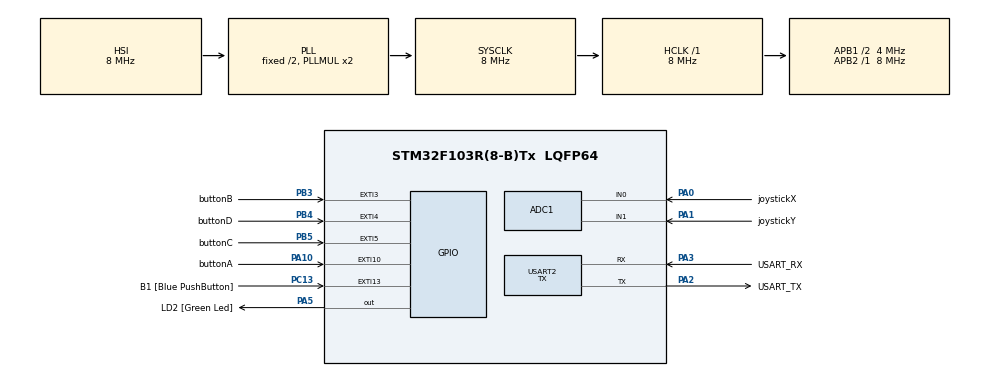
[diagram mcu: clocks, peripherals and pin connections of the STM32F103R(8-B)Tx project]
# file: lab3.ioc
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ADC1.Channel-0\#ChannelRegularConversion=ADC_CHANNEL_1
ADC1.Channel-1\#ChannelRegularConversion=ADC_CHANNEL_0
ADC1.ContinuousConvMode=ENABLE
ADC1.NbrOfConversion=2
ADC1.NbrOfConversionFlag=1
ADC1.Rank-0\#ChannelRegularConversion=1
ADC1.Rank-1\#ChannelRegularConversion=2
ADC1.SamplingTime-0\#ChannelRegularConversion=ADC_SAMPLETIME_239CYCLES_5
ADC1.SamplingTime-1\#ChannelRegularConversion=ADC_SAMPLETIME_239CYCLES_5
ADC1.master=1
Dma.ADC1.0.Direction=DMA_PERIPH_TO_MEMORY
Dma.ADC1.0.Instance=DMA1_Channel1
Dma.ADC1.0.MemDataAlignment=DMA_MDATAALIGN_HALFWORD
Dma.ADC1.0.MemInc=DMA_MINC_ENABLE
Dma.ADC1.0.Mode=DMA_CIRCULAR
Dma.ADC1.0.PeriphDataAlignment=DMA_PDATAALIGN_HALFWORD
Dma.ADC1.0.PeriphInc=DMA_PINC_DISABLE
Dma.ADC1.0.Priority=DMA_PRIORITY_LOW
Dma.Request0=ADC1
Mcu.Family=STM32F1
Mcu.Name=STM32F103R(8-B)Tx
Mcu.Package=LQFP64
NVIC.ADC1_2_IRQn=true\:1\:0\:true\:false\:true\:true\:true\:true
NVIC.DMA1_Channel1_IRQn=true\:1\:0\:true\:false\:true\:false\:true\:true
NVIC.EXTI15_10_IRQn=true\:0\:0\:false\:false\:true\:true\:true\:true
NVIC.EXTI3_IRQn=true\:0\:0\:false\:false\:true\:true\:true\:true
NVIC.EXTI4_IRQn=true\:0\:0\:false\:false\:true\:true\:true\:true
NVIC.EXTI9_5_IRQn=true\:0\:0\:false\:false\:true\:true\:true\:true
NVIC.PriorityGroup=NVIC_PRIORITYGROUP_4
NVIC.TIM2_IRQn=true\:0\:0\:false\:false\:true\:true\:true\:true
NVIC.USART2_IRQn=true\:0\:0\:true\:false\:true\:true\:true\:true
PA0-WKUP.GPIO_Label=joystickX
PA0-WKUP.Signal=ADCx_IN0
PA1.GPIO_Label=joystickY
PA1.Signal=ADCx_IN1
PA10.GPIO_Label=buttonA
PA10.Signal=GPXTI10
PA13.GPIO_Label=TMS
PA13.Mode=Serial_Wire
PA13.Signal=SYS_JTMS-SWDIO
PA14.GPIO_Label=TCK
PA14.Mode=Serial_Wire
PA14.Signal=SYS_JTCK-SWCLK
PA2.GPIO_Label=USART_TX
PA2.GPIO_Mode=GPIO_MODE_AF_PP
PA2.GPIO_PuPd=GPIO_NOPULL
PA2.GPIO_Speed=GPIO_SPEED_FREQ_LOW
PA2.Mode=Asynchronous
PA2.Signal=USART2_TX
PA3.GPIO_Label=USART_RX
PA3.GPIO_Mode=GPIO_MODE_AF_PP
PA3.GPIO_PuPd=GPIO_NOPULL
PA3.GPIO_Speed=GPIO_SPEED_FREQ_LOW
PA3.Mode=Asynchronous
PA3.Signal=USART2_RX
PA5.GPIO_Label=LD2 [Green Led]
PA5.GPIO_ModeDefaultOutputPP=GPIO_MODE_OUTPUT_PP
PA5.GPIO_PuPd=GPIO_NOPULL
PA5.GPIO_Speed=GPIO_SPEED_FREQ_LOW
PA5.Signal=GPIO_Output
PB3.GPIO_Label=buttonB
PB3.Signal=GPXTI3
PB4.GPIO_Label=buttonD
PB4.Signal=GPXTI4
PB5.GPIO_Label=buttonC
PB5.Signal=GPXTI5
PC13-TAMPER-RTC.GPIO_Label=B1 [Blue PushButton]
PC13-TAMPER-RTC.GPIO_PuPd=GPIO_NOPULL
PC13-TAMPER-RTC.Signal=GPXTI13
PC14-OSC32_IN.Mode=LSE-External-Oscillator
PC14-OSC32_IN.Signal=RCC_OSC32_IN
PC15-OSC32_OUT.Mode=LSE-External-Oscillator
PC15-OSC32_OUT.Signal=RCC_OSC32_OUT
PD0-OSC_IN.Mode=HSE-External-Clock-Source
PD0-OSC_IN.Signal=RCC_OSC_IN
PD1-OSC_OUT.Mode=HSE-External-Clock-Source
PD1-OSC_OUT.Signal=RCC_OSC_OUT
ProjectManager.HeapSize=0x200
ProjectManager.StackSize=0x400
ProjectManager.TargetToolchain=MDK-ARM V5.32
RCC.AHBFreq_Value=8000000
RCC.APB1CLKDivider=RCC_HCLK_DIV2
RCC.APB1Freq_Value=4000000
RCC.APB1TimFreq_Value=8000000
RCC.APB2Freq_Value=8000000
RCC.APB2TimFreq_Value=8000000
RCC.HCLKFreq_Value=8000000
RCC.RTCClockSelection=RCC_RTCCLKSOURCE_LSE
RCC.SYSCLKFreq_VALUE=8000000
RCC.SYSCLKSource=RCC_SYSCLKSOURCE_PLLCLK
RCC.USBFreq_Value=8000000
SH.ADCx_IN0.0=ADC1_IN0,IN0
SH.ADCx_IN1.0=ADC1_IN1,IN1
TIM2.AutoReloadPreload=TIM_AUTORELOAD_PRELOAD_ENABLE
TIM2.Period=499
TIM2.Prescaler=6399
USART2.Mode=MODE_TX
USART2.VirtualMode=VM_ASYNC
VP_TIM2_VS_ClockSourceINT.Mode=Internal
board=NUCLEO-F103RB

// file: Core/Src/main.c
/* USER CODE BEGIN Header */
/**
  ******************************************************************************
  * @file           : main.c
  * @brief          : Main program body
  ******************************************************************************
  * @attention
  *
  * Copyright (c) 2025 STMicroelectronics.
  * All rights reserved.
  *
  * This software is licensed under terms that can be found in the LICENSE file
  * in the root directory of this software component.
  * If no LICENSE file comes with this software, it is provided AS-IS.
  *
  ******************************************************************************
  */
/* USER CODE END Header */
#include "main.h"
#include "adc.h"
#include "dma.h"
#include "tim.h"
#include "usart.h"
#include "gpio.h"

/* USER CODE BEGIN Includes */
#include <stdio.h>
#include <string.h>
#include <stdlib.h>
/* USER CODE END Includes */

void SystemClock_Config(void);

/* USER CODE BEGIN 0 */
volatile uint8_t adc_ready = 0;
volatile uint16_t adc_buffer[2];
uint32_t last_joystick_time = 0;

void Read_Joystick(void);
void Send_Joystick_Data(uint16_t x, uint16_t y);
/* USER CODE END 0 */

int main(void)
{

  /* MCU Configuration--------------------------------------------------------*/

  /* Reset of all peripherals, Initializes the Flash interface and the Systick. */
  HAL_Init();

  /* Configure the system clock */
  SystemClock_Config();

  /* Initialize all configured peripherals */
  MX_GPIO_Init();
  MX_DMA_Init();
  MX_ADC1_Init();
  MX_USART2_UART_Init();
  MX_TIM2_Init();
  /* USER CODE BEGIN 2 */
  //if (HAL_ADC_Start_DMA(&hadc1, (uint32_t*)adc_buffer, 2) != HAL_OK)
  //{
  //    Error_Handler();
  //}
	HAL_UART_Transmit(&huart2, (uint8_t*)"Starting system...\r\n", 20, 100);

  HAL_TIM_Base_Start_IT(&htim2);

	HAL_ADCEx_Calibration_Start(&hadc1);
	HAL_Delay(10);
	HAL_StatusTypeDef status = HAL_ADC_Start_DMA(&hadc1, (uint32_t*)adc_buffer, 2);

	if (status == HAL_OK) {
		adc_buffer[0] = 0;
		adc_buffer[1] = 0;
	}
  /* USER CODE END 2 */

  /* Infinite loop */
  /* USER CODE BEGIN WHILE */

  while (1)
  {

    Read_Joystick();
		//HAL_Delay(100);
    /* USER CODE END WHILE */

  }
}

void SystemClock_Config(void)
{
  RCC_OscInitTypeDef RCC_OscInitStruct = {0};
  RCC_ClkInitTypeDef RCC_ClkInitStruct = {0};
  RCC_PeriphCLKInitTypeDef PeriphClkInit = {0};

  /** Initializes the RCC Oscillators according to the specified parameters
  * in the RCC_OscInitTypeDef structure.
  */
  RCC_OscInitStruct.OscillatorType = RCC_OSCILLATORTYPE_HSI;
  RCC_OscInitStruct.HSIState = RCC_HSI_ON;
  RCC_OscInitStruct.HSICalibrationValue = RCC_HSICALIBRATION_DEFAULT;
  RCC_OscInitStruct.PLL.PLLState = RCC_PLL_ON;
  RCC_OscInitStruct.PLL.PLLSource = RCC_PLLSOURCE_HSI_DIV2;
  RCC_OscInitStruct.PLL.PLLMUL = RCC_PLL_MUL2;
  if (HAL_RCC_OscConfig(&RCC_OscInitStruct) != HAL_OK)
  {
    Error_Handler();
  }

  /** Initializes the CPU, AHB and APB buses clocks
  */
  RCC_ClkInitStruct.ClockType = RCC_CLOCKTYPE_HCLK|RCC_CLOCKTYPE_SYSCLK
                              |RCC_CLOCKTYPE_PCLK1|RCC_CLOCKTYPE_PCLK2;
  RCC_ClkInitStruct.SYSCLKSource = RCC_SYSCLKSOURCE_PLLCLK;
  RCC_ClkInitStruct.AHBCLKDivider = RCC_SYSCLK_DIV1;
  RCC_ClkInitStruct.APB1CLKDivider = RCC_HCLK_DIV2;
  RCC_ClkInitStruct.APB2CLKDivider = RCC_HCLK_DIV1;

  if (HAL_RCC_ClockConfig(&RCC_ClkInitStruct, FLASH_LATENCY_0) != HAL_OK)
  {
    Error_Handler();
  }
  PeriphClkInit.PeriphClockSelection = RCC_PERIPHCLK_ADC;
  PeriphClkInit.AdcClockSelection = RCC_ADCPCLK2_DIV2;
  if (HAL_RCCEx_PeriphCLKConfig(&PeriphClkInit) != HAL_OK)
  {
    Error_Handler();
  }
}

/* USER CODE BEGIN 4 */

/*
void Read_Joystick(void)
{
  uint32_t current_time = HAL_GetTick();

  if((current_time - last_joystick_time) > 500) {
    uint16_t adc_values[2];
    HAL_ADC_Start(&hadc1);
    for(int i = 0; i < 2; i++) {
      if(HAL_ADC_PollForConversion(&hadc1, 100) == HAL_OK) {
        adc_values[i] = HAL_ADC_GetValue(&hadc1);
      }
    }

    HAL_ADC_Stop(&hadc1);

    Send_Joystick_Data(adc_values[1], adc_values[0]);
    last_joystick_time = current_time;
  }
}*/

void Read_Joystick(void)
{
    uint32_t current_time = HAL_GetTick();
    if(adc_ready && (current_time - last_joystick_time > 300)) {
        Send_Joystick_Data(adc_buffer[0], adc_buffer[1]);
        adc_ready = 0;
        last_joystick_time = current_time;
    }
}

void Send_Joystick_Data(uint16_t x, uint16_t y)
{
    HAL_ADC_Stop_DMA(&hadc1);

    char uart_msg[64];
    sprintf(uart_msg, "JX%dY%d\r\n", x, y);
    HAL_UART_Transmit(&huart2, (uint8_t*)uart_msg, strlen(uart_msg), 100);

    HAL_ADC_Start_DMA(&hadc1, (uint32_t*)adc_buffer, 2);
}

/* USER CODE END 4 */

void Error_Handler(void)
{
  __disable_irq();
  while (1)
  {
  }
}
